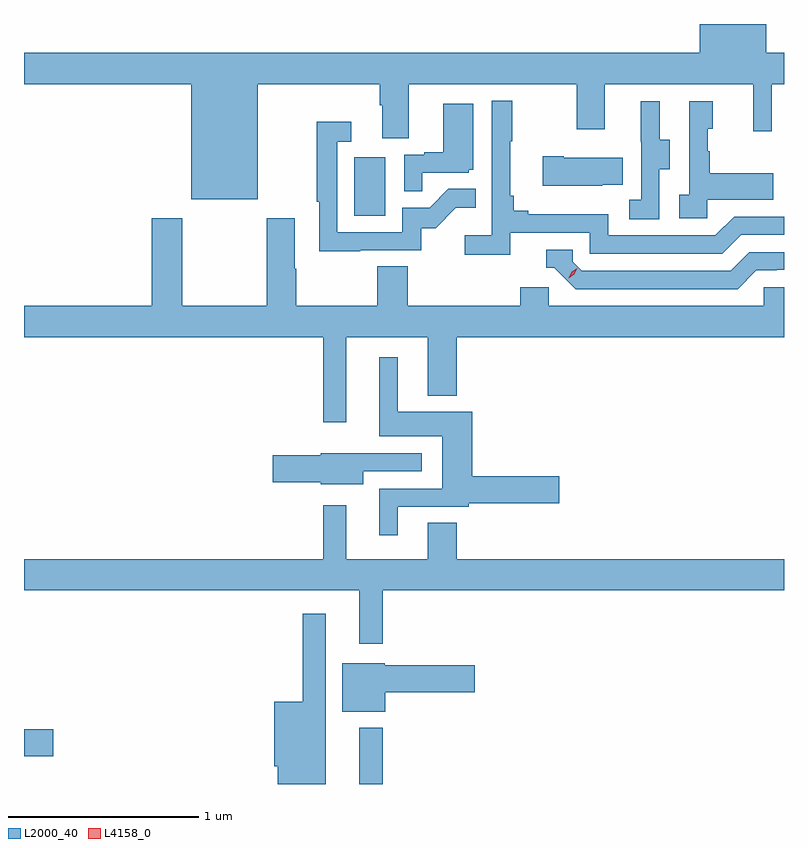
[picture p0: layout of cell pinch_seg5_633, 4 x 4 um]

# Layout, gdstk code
import gdstk
lib = gdstk.Library(unit=1e-6, precision=1e-09)
def R(c, l, rs):  # rectangles x0, y0, x1, y1
    for r in rs: c.add(gdstk.rectangle(r[:2], r[2:], *l))
def P(c, l, *ps):  # polygons
    for p in ps: c.add(gdstk.Polygon(p, *l))
L2000_40 = (2000, 40)
L4158_0 = (4158, 0)

pinch_seg5_633 = lib.new_cell('pinch_seg5_633')
R(pinch_seg5_633, L2000_40, [(1060.673,858.404,1060.795,858.7), (1058.908,858.55,1059.061,858.692), (1060.646,861.396,1060.81,861.703)])
P(pinch_seg5_633, L2000_40, [(1060.138,862.088),(1060.781,862.088),(1060.781,861.976),(1060.793,861.976),(1060.793,861.802),(1060.933,861.802),(1060.933,862.088),(1061.818,862.088),(1061.818,861.849),(1061.965,861.849),(1061.965,862.088),(1062.746,862.088),(1062.746,861.84),(1062.843,861.84),(1062.843,862.088),(1062.908,862.088),(1062.908,862.252),(1062.814,862.252),(1062.814,862.404),(1062.464,862.404),(1062.464,862.252),(1058.908,862.252),(1058.908,862.088),(1059.788,862.088),(1059.788,861.482),(1060.138,861.482)],
  [(1061.468,861.306),(1061.886,861.306),(1061.886,861.195),(1062.583,861.195),(1062.682,861.294),(1062.908,861.294),(1062.908,861.39),(1062.645,861.39),(1062.546,861.291),(1061.982,861.291),(1061.982,861.403),(1061.563,861.403),(1061.563,861.422),(1061.486,861.422),(1061.486,861.499),(1061.467,861.499),(1061.467,861.787),(1061.479,861.787),(1061.479,862),(1061.37,862),(1061.37,861.292),(1061.229,861.292),(1061.229,861.19),(1061.468,861.19)],
  [(1062.252,861.64),(1062.307,861.64),(1062.307,861.795),(1062.253,861.795),(1062.253,861.997),(1062.155,861.997),(1062.155,861.783),(1062.156,861.783),(1062.156,861.479),(1062.093,861.479),(1062.093,861.376),(1062.252,861.376)],
  [(1062.504,861.479),(1062.851,861.479),(1062.851,861.619),(1062.517,861.619),(1062.517,861.734),(1062.507,861.734),(1062.507,861.852),(1062.532,861.852),(1062.532,861.997),(1062.408,861.997),(1062.408,861.506),(1062.357,861.506),(1062.357,861.381),(1062.504,861.381)],
  [(1061.003,861.621),(1061.25,861.621),(1061.25,861.636),(1061.272,861.636),(1061.272,861.985),(1061.114,861.985),(1061.114,861.73),(1061.015,861.73),(1061.015,861.717),(1060.908,861.717),(1060.908,861.523),(1061.003,861.523)],
  [(1060.679,861.213),(1060.998,861.213),(1060.998,861.33),(1061.074,861.33),(1061.181,861.437),(1061.285,861.437),(1061.285,861.536),(1061.141,861.536),(1061.043,861.438),(1060.899,861.438),(1060.899,861.309),(1060.557,861.309),(1060.557,861.783),(1060.63,861.783),(1060.63,861.889),(1060.449,861.889),(1060.449,861.469),(1060.461,861.469),(1060.461,861.208),(1060.679,861.208)],
  [(1061.951,861.557),(1062.059,861.557),(1062.059,861.7),(1061.749,861.7),(1061.749,861.708),(1061.637,861.708),(1061.637,861.554),(1061.951,861.554)],
  [(1060.603,860.756),(1061.033,860.756),(1061.033,860.447),(1061.186,860.447),(1061.186,860.756),(1062.908,860.756),(1062.908,861.018),(1062.801,861.018),(1062.801,860.92),(1061.67,860.92),(1061.67,861.018),(1061.519,861.018),(1061.519,860.92),(1060.928,860.92),(1060.928,861.128),(1060.768,861.128),(1060.768,860.92),(1060.341,860.92),(1060.341,861.116),(1060.333,861.116),(1060.333,861.382),(1060.186,861.382),(1060.186,860.92),(1059.741,860.92),(1059.741,861.382),(1059.581,861.382),(1059.581,860.92),(1058.908,860.92),(1058.908,860.756),(1060.482,860.756),(1060.482,860.307),(1060.603,860.307)],
  [(1062.763,861.108),(1062.87,861.108),(1062.87,861.111),(1062.908,861.111),(1062.908,861.204),(1062.726,861.204),(1062.627,861.105),(1061.844,861.105),(1061.796,861.153),(1061.796,861.216),(1061.657,861.216),(1061.657,861.12),(1061.7,861.12),(1061.811,861.009),(1062.664,861.009)],
  [(1060.876,859.863),(1061.25,859.863),(1061.25,859.882),(1061.725,859.882),(1061.725,860.024),(1061.267,860.024),(1061.267,860.362),(1060.876,860.362),(1060.876,860.65),(1060.778,860.65),(1060.778,860.234),(1061.108,860.234),(1061.108,859.959),(1060.778,859.959),(1060.778,859.713),(1060.876,859.713)],
  [(1060.693,860.049),(1061.002,860.049),(1061.002,860.145),(1060.689,860.145),(1060.689,860.146),(1060.47,860.146),(1060.47,860.135),(1060.218,860.135),(1060.218,859.993),(1060.47,859.993),(1060.47,859.982),(1060.693,859.982)],
  [(1060.795,859.424),(1062.908,859.424),(1062.908,859.588),(1061.186,859.588),(1061.186,859.778),(1061.033,859.778),(1061.033,859.588),(1060.603,859.588),(1060.603,859.87),(1060.482,859.87),(1060.482,859.588),(1058.908,859.588),(1058.908,859.424),(1060.673,859.424),(1060.673,859.143),(1060.795,859.143)],
  [(1060.495,859.3),(1060.374,859.3),(1060.374,858.838),(1060.226,858.838),(1060.226,858.498),(1060.244,858.498),(1060.244,858.404),(1060.495,858.404)],
  [(1060.81,858.887),(1061.281,858.887),(1061.281,859.029),(1060.806,859.029),(1060.806,859.039),(1060.583,859.039),(1060.583,858.785),(1060.81,858.785)])
P(pinch_seg5_633, L4158_0, [(1061.774,861.066),(1061.774,861.067),(1061.79,861.099),(1061.82,861.118),(1061.821,861.118),(1061.821,861.118),(1061.804,861.086),(1061.774,861.066)])

lib.write_gds('pinch_seg5_633.gds')
